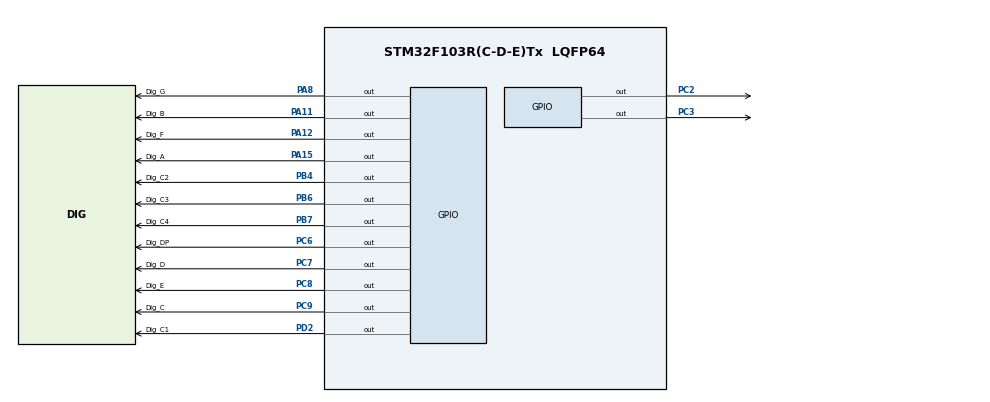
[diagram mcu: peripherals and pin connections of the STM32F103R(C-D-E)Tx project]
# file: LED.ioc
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Mcu.Family=STM32F1
Mcu.Name=STM32F103R(C-D-E)Tx
Mcu.Package=LQFP64
NVIC.PriorityGroup=NVIC_PRIORITYGROUP_4
PA11.GPIO_Label=Dig_B
PA11.Signal=GPIO_Output
PA12.GPIO_Label=Dig_F
PA12.Signal=GPIO_Output
PA15.GPIO_Label=Dig_A
PA15.Signal=GPIO_Output
PA8.GPIO_Label=Dig_G
PA8.Signal=GPIO_Output
PB4.GPIO_Label=Dig_C2
PB4.Signal=GPIO_Output
PB6.GPIO_Label=Dig_C3
PB6.Signal=GPIO_Output
PB7.GPIO_Label=Dig_C4
PB7.Signal=GPIO_Output
PC2.Signal=GPIO_Output
PC3.Signal=GPIO_Output
PC6.GPIO_Label=Dig_DP
PC6.Signal=GPIO_Output
PC7.GPIO_Label=Dig_D
PC7.Signal=GPIO_Output
PC8.GPIO_Label=Dig_E
PC8.Signal=GPIO_Output
PC9.GPIO_Label=Dig_C
PC9.Signal=GPIO_Output
PD2.GPIO_Label=Dig_C1
PD2.Signal=GPIO_Output
ProjectManager.HeapSize=0x200
ProjectManager.StackSize=0x400
ProjectManager.TargetToolchain=MDK-ARM V5
RCC.APB1Freq_Value=8000000
RCC.APB2Freq_Value=8000000
VP_SYS_VS_ND.Mode=No_Debug
board=custom

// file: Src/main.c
/* USER CODE BEGIN Header */
/**
  ******************************************************************************
  * @file           : main.c
  * @brief          : Main program body
  ******************************************************************************
  ** This notice applies to any and all portions of this file
  * that are not between comment pairs USER CODE BEGIN and
  * USER CODE END. Other portions of this file, whether
  * inserted by the user or by software development tools
  * are owned by their respective copyright owners.
  *
  * COPYRIGHT(c) 2019 STMicroelectronics
  *
  * Redistribution and use in source and binary forms, with or without modification,
  * are permitted provided that the following conditions are met:
  *   1. Redistributions of source code must retain the above copyright notice,
  *      this list of conditions and the following disclaimer.
  *   2. Redistributions in binary form must reproduce the above copyright notice,
  *      this list of conditions and the following disclaimer in the documentation
  *      and/or other materials provided with the distribution.
  *   3. Neither the name of STMicroelectronics nor the names of its contributors
  *      may be used to endorse or promote products derived from this software
  *      without specific prior written permission.
  *
  * THIS SOFTWARE IS PROVIDED BY THE COPYRIGHT HOLDERS AND CONTRIBUTORS "AS IS"
  * AND ANY EXPRESS OR IMPLIED WARRANTIES, INCLUDING, BUT NOT LIMITED TO, THE
  * IMPLIED WARRANTIES OF MERCHANTABILITY AND FITNESS FOR A PARTICULAR PURPOSE ARE
  * DISCLAIMED. IN NO EVENT SHALL THE COPYRIGHT HOLDER OR CONTRIBUTORS BE LIABLE
  * FOR ANY DIRECT, INDIRECT, INCIDENTAL, SPECIAL, EXEMPLARY, OR CONSEQUENTIAL
  * DAMAGES (INCLUDING, BUT NOT LIMITED TO, PROCUREMENT OF SUBSTITUTE GOODS OR
  * SERVICES; LOSS OF USE, DATA, OR PROFITS; OR BUSINESS INTERRUPTION) HOWEVER
  * CAUSED AND ON ANY THEORY OF LIABILITY, WHETHER IN CONTRACT, STRICT LIABILITY,
  * OR TORT (INCLUDING NEGLIGENCE OR OTHERWISE) ARISING IN ANY WAY OUT OF THE USE
  * OF THIS SOFTWARE, EVEN IF ADVISED OF THE POSSIBILITY OF SUCH DAMAGE.
  *
  ******************************************************************************
  */
/* USER CODE END Header */

#include "main.h"
//#include<string>

void SystemClock_Config(void);
static void MX_GPIO_Init(void);

/* USER CODE BEGIN 0 */
	struct GPIO_PACK{
		GPIO_TypeDef * port;
		uint16_t pin;
	};
	struct GPIO_PACK segs[8]= {
	{GPIOA,GPIO_PIN_15},
	{GPIOA,GPIO_PIN_11},
	{GPIOC,GPIO_PIN_9},
	{GPIOC,GPIO_PIN_7},
	{GPIOC,GPIO_PIN_8},
	{GPIOA,GPIO_PIN_12},
	{GPIOA,GPIO_PIN_8},
	{GPIOC,GPIO_PIN_6},
	}	;
	struct GPIO_PACK bits[4]={
	{GPIOD,GPIO_PIN_2},
	{GPIOB,GPIO_PIN_4},
	{GPIOB,GPIO_PIN_6},
	{GPIOB,GPIO_PIN_7},

	};
uint8_t shuzu[]={
	0xc0,0xf9,0xa4,0xb0,0x99,0x92,0x82,
	0xf8,0x80,0x90,0x88,0x83,0xc6,0xa1,0x86,0x8e
};
void DisplayOnebit(uint8_t digtal,uint8_t bit){
		uint8_t i;
		for(i=0;i<8;i++){
			HAL_GPIO_WritePin(segs[i].port,segs[i].pin,(GPIO_PinState)(shuzu[digtal]&(0x01<<i)));
		}
		for(i=0;i<4;i++){
			HAL_GPIO_WritePin(bits[i].port,bits[i].pin,(GPIO_PinState)(i!=bit));
		}
}

void DisplayDigtal(uint16_t digtal){
	int a=0;
	while(a<50)
	{
	a++;
	DisplayOnebit(digtal%10,0);
	HAL_Delay(5);
	if (digtal>=10){
	DisplayOnebit(digtal/10%10,1);
	HAL_Delay(5);
	if (digtal>=100){
	DisplayOnebit(digtal/100%10,2);
	HAL_Delay(5);
	if (digtal>=1000){
	DisplayOnebit(digtal/1000%10,3);
	HAL_Delay(5);

				}
			}
		}
	}
}
uint16_t displya_data=0;
/* USER CODE END 0 */

int main(void)
{

  /* MCU Configuration--------------------------------------------------------*/

  /* Reset of all peripherals, Initializes the Flash interface and the Systick. */

  HAL_Init();

  /* Configure the system clock */
  SystemClock_Config();

  /* Initialize all configured peripherals */
  MX_GPIO_Init();

  /* Infinite loop */
  while (1)
  {

		//HAL_Delay(1000);
    /* USER CODE BEGIN 3 */
		DisplayDigtal(displya_data++);
		if(displya_data>9999)
			displya_data=0;
  }

  /* USER CODE END 3 */
}

void SystemClock_Config(void)
{
  RCC_OscInitTypeDef RCC_OscInitStruct = {0};
  RCC_ClkInitTypeDef RCC_ClkInitStruct = {0};

  /**Initializes the CPU, AHB and APB busses clocks
  */
  RCC_OscInitStruct.OscillatorType = RCC_OSCILLATORTYPE_HSI;
  RCC_OscInitStruct.HSIState = RCC_HSI_ON;
  RCC_OscInitStruct.HSICalibrationValue = RCC_HSICALIBRATION_DEFAULT;
  RCC_OscInitStruct.PLL.PLLState = RCC_PLL_NONE;
  if (HAL_RCC_OscConfig(&RCC_OscInitStruct) != HAL_OK)
  {
    Error_Handler();
  }
  /**Initializes the CPU, AHB and APB busses clocks
  */
  RCC_ClkInitStruct.ClockType = RCC_CLOCKTYPE_HCLK|RCC_CLOCKTYPE_SYSCLK
                              |RCC_CLOCKTYPE_PCLK1|RCC_CLOCKTYPE_PCLK2;
  RCC_ClkInitStruct.SYSCLKSource = RCC_SYSCLKSOURCE_HSI;
  RCC_ClkInitStruct.AHBCLKDivider = RCC_SYSCLK_DIV1;
  RCC_ClkInitStruct.APB1CLKDivider = RCC_HCLK_DIV1;
  RCC_ClkInitStruct.APB2CLKDivider = RCC_HCLK_DIV1;

  if (HAL_RCC_ClockConfig(&RCC_ClkInitStruct, FLASH_LATENCY_0) != HAL_OK)
  {
    Error_Handler();
  }
}

static void MX_GPIO_Init(void)
{
  GPIO_InitTypeDef GPIO_InitStruct = {0};

  /* GPIO Ports Clock Enable */
  __HAL_RCC_GPIOC_CLK_ENABLE();
  __HAL_RCC_GPIOA_CLK_ENABLE();
  __HAL_RCC_GPIOD_CLK_ENABLE();
  __HAL_RCC_GPIOB_CLK_ENABLE();

  /*Configure GPIO pin Output Level */
  HAL_GPIO_WritePin(GPIOC, GPIO_PIN_2|GPIO_PIN_3|Dig_DP_Pin|Dig_D_Pin
                          |Dig_E_Pin|Dig_C_Pin, GPIO_PIN_RESET);

  /*Configure GPIO pin Output Level */
  HAL_GPIO_WritePin(GPIOA, Dig_G_Pin|Dig_B_Pin|Dig_F_Pin|Dig_A_Pin, GPIO_PIN_RESET);

  /*Configure GPIO pin Output Level */
  HAL_GPIO_WritePin(Dig_C1_GPIO_Port, Dig_C1_Pin, GPIO_PIN_RESET);

  /*Configure GPIO pin Output Level */
  HAL_GPIO_WritePin(GPIOB, Dig_C2_Pin|Dig_C3_Pin|Dig_C4_Pin, GPIO_PIN_RESET);

  /*Configure GPIO pins : PC2 PC3 Dig_DP_Pin Dig_D_Pin
                           Dig_E_Pin Dig_C_Pin */
  GPIO_InitStruct.Pin = GPIO_PIN_2|GPIO_PIN_3|Dig_DP_Pin|Dig_D_Pin
                          |Dig_E_Pin|Dig_C_Pin;
  GPIO_InitStruct.Mode = GPIO_MODE_OUTPUT_PP;
  GPIO_InitStruct.Pull = GPIO_NOPULL;
  GPIO_InitStruct.Speed = GPIO_SPEED_FREQ_LOW;
  HAL_GPIO_Init(GPIOC, &GPIO_InitStruct);

  /*Configure GPIO pins : Dig_G_Pin Dig_B_Pin Dig_F_Pin Dig_A_Pin */
  GPIO_InitStruct.Pin = Dig_G_Pin|Dig_B_Pin|Dig_F_Pin|Dig_A_Pin;
  GPIO_InitStruct.Mode = GPIO_MODE_OUTPUT_PP;
  GPIO_InitStruct.Pull = GPIO_NOPULL;
  GPIO_InitStruct.Speed = GPIO_SPEED_FREQ_LOW;
  HAL_GPIO_Init(GPIOA, &GPIO_InitStruct);

  /*Configure GPIO pin : Dig_C1_Pin */
  GPIO_InitStruct.Pin = Dig_C1_Pin;
  GPIO_InitStruct.Mode = GPIO_MODE_OUTPUT_PP;
  GPIO_InitStruct.Pull = GPIO_NOPULL;
  GPIO_InitStruct.Speed = GPIO_SPEED_FREQ_LOW;
  HAL_GPIO_Init(Dig_C1_GPIO_Port, &GPIO_InitStruct);

  /*Configure GPIO pins : Dig_C2_Pin Dig_C3_Pin Dig_C4_Pin */
  GPIO_InitStruct.Pin = Dig_C2_Pin|Dig_C3_Pin|Dig_C4_Pin;
  GPIO_InitStruct.Mode = GPIO_MODE_OUTPUT_PP;
  GPIO_InitStruct.Pull = GPIO_NOPULL;
  GPIO_InitStruct.Speed = GPIO_SPEED_FREQ_LOW;
  HAL_GPIO_Init(GPIOB, &GPIO_InitStruct);

}

void Error_Handler(void)
{
}

/************************ (C) COPYRIGHT STMicroelectronics *****END OF FILE****/
